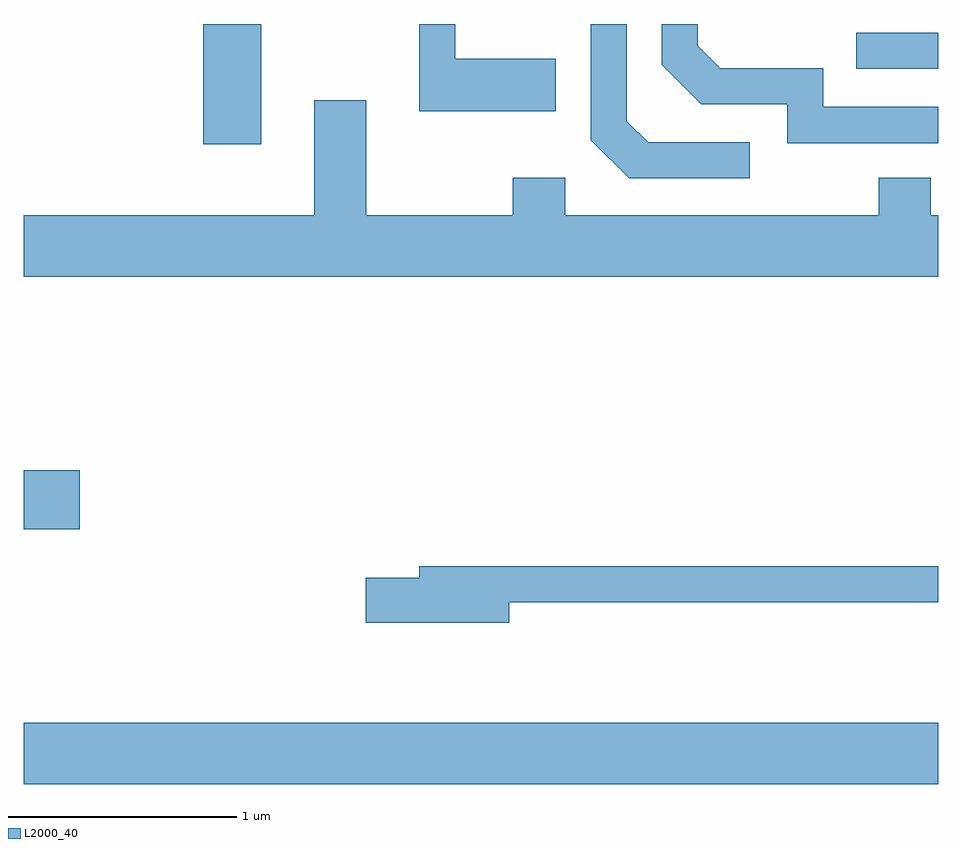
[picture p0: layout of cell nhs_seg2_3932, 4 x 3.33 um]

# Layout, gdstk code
import gdstk
lib = gdstk.Library(unit=1e-6, precision=1e-09)
def R(c, l, rs):  # rectangles x0, y0, x1, y1
    for r in rs: c.add(gdstk.rectangle(r[:2], r[2:], *l))
def P(c, l, *ps):  # polygons
    for p in ps: c.add(gdstk.Polygon(p, *l))
L2000_40 = (2000, 40)

nhs_seg2_3932 = lib.new_cell('nhs_seg2_3932')
R(nhs_seg2_3932, L2000_40, [(299.611,1110.476,303.611,1110.744), (299.611,1111.591,299.854,1111.849), (300.396,1113.276,300.649,1113.802), (303.253,1113.606,303.611,1113.764)])
P(nhs_seg2_3932, L2000_40, [(301.939,1113.649),(301.499,1113.649),(301.499,1113.802),(301.341,1113.802),(301.341,1113.421),(301.939,1113.421)],
  [(302.788,1113.284),(302.342,1113.284),(302.249,1113.377),(302.249,1113.802),(302.091,1113.802),(302.091,1113.294),(302.259,1113.126),(302.788,1113.126)],
  [(303.611,1113.439),(303.109,1113.439),(303.109,1113.609),(302.657,1113.609),(302.559,1113.707),(302.559,1113.802),(302.401,1113.802),(302.401,1113.624),(302.574,1113.451),(302.951,1113.451),(302.951,1113.281),(303.611,1113.281)],
  [(303.611,1112.964),(303.579,1112.964),(303.579,1113.129),(303.351,1113.129),(303.351,1112.964),(301.979,1112.964),(301.979,1113.129),(301.751,1113.129),(301.751,1112.964),(301.109,1112.964),(301.109,1113.469),(300.881,1113.469),(300.881,1112.964),(299.611,1112.964),(299.611,1112.696),(303.611,1112.696)],
  [(301.734,1111.271),(303.611,1111.271),(303.611,1111.429),(301.341,1111.429),(301.341,1111.379),(301.106,1111.379),(301.106,1111.181),(301.734,1111.181)])

lib.write_gds('nhs_seg2_3932.gds')
